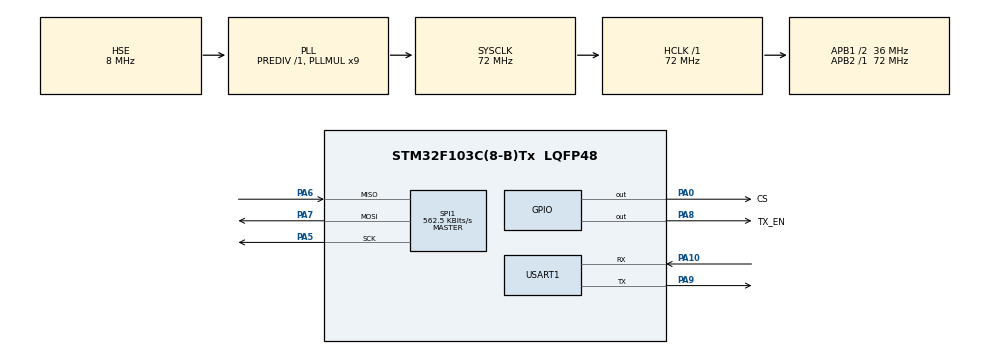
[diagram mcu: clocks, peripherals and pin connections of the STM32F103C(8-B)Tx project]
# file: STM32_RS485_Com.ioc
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Mcu.Family=STM32F1
Mcu.Name=STM32F103C(8-B)Tx
Mcu.Package=LQFP48
NVIC.PriorityGroup=NVIC_PRIORITYGROUP_4
NVIC.USART1_IRQn=true\:0\:0\:false\:false\:true\:true\:true\:true
PA0-WKUP.GPIO_Label=CS
PA0-WKUP.Signal=GPIO_Output
PA10.Mode=Asynchronous
PA10.Signal=USART1_RX
PA13.Mode=Serial_Wire
PA13.Signal=SYS_JTMS-SWDIO
PA14.Mode=Serial_Wire
PA14.Signal=SYS_JTCK-SWCLK
PA5.Mode=Full_Duplex_Master
PA5.Signal=SPI1_SCK
PA6.Mode=Full_Duplex_Master
PA6.Signal=SPI1_MISO
PA7.Mode=Full_Duplex_Master
PA7.Signal=SPI1_MOSI
PA8.GPIO_Label=TX_EN
PA8.Signal=GPIO_Output
PA9.Mode=Asynchronous
PA9.Signal=USART1_TX
PD0-OSC_IN.Mode=HSE-External-Oscillator
PD0-OSC_IN.Signal=RCC_OSC_IN
PD1-OSC_OUT.Mode=HSE-External-Oscillator
PD1-OSC_OUT.Signal=RCC_OSC_OUT
ProjectManager.HeapSize=0x200
ProjectManager.StackSize=0x400
ProjectManager.TargetToolchain=STM32CubeIDE
RCC.AHBFreq_Value=72000000
RCC.APB1CLKDivider=RCC_HCLK_DIV2
RCC.APB1Freq_Value=36000000
RCC.APB1TimFreq_Value=72000000
RCC.APB2Freq_Value=72000000
RCC.APB2TimFreq_Value=72000000
RCC.HCLKFreq_Value=72000000
RCC.PLLMUL=RCC_PLL_MUL9
RCC.PLLSourceVirtual=RCC_PLLSOURCE_HSE
RCC.SYSCLKFreq_VALUE=72000000
RCC.SYSCLKSource=RCC_SYSCLKSOURCE_PLLCLK
RCC.USBFreq_Value=72000000
SPI1.BaudRatePrescaler=SPI_BAUDRATEPRESCALER_128
SPI1.CLKPhase=SPI_PHASE_2EDGE
SPI1.CalculateBaudRate=562.5 KBits/s
SPI1.Direction=SPI_DIRECTION_2LINES
SPI1.Mode=SPI_MODE_MASTER
SPI1.VirtualType=VM_MASTER
USART1.VirtualMode=VM_ASYNC
board=custom

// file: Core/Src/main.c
/* USER CODE BEGIN Header */
/**
  ******************************************************************************
  * @file           : main.c
  * @brief          : Main program body
  ******************************************************************************
  * @attention
  *
  * <h2><center>&copy; Copyright (c) 2022 STMicroelectronics.
  * All rights reserved.</center></h2>
  *
  * This software component is licensed by ST under BSD 3-Clause license,
  * the "License"; You may not use this file except in compliance with the
  * License. You may obtain a copy of the License at:
  *                        opensource.org/licenses/BSD-3-Clause
  *
  ******************************************************************************
  */
/* USER CODE END Header */
#include "main.h"

/* USER CODE BEGIN Includes */
#include "MAX31865_lib.h"
#include <stdio.h>
#include <stdbool.h>
#include <string.h>

extern bool MAX31865_Sensor_Error;
char temperature[16];
float PT100_Temperature = 0.0f;

unsigned long Time;
/* USER CODE END Includes */

SPI_HandleTypeDef hspi1;

UART_HandleTypeDef huart1;

void SystemClock_Config(void);
static void MX_GPIO_Init(void);
static void MX_SPI1_Init(void);
static void MX_USART1_UART_Init(void);

/* USER CODE BEGIN 0 */
uint8_t TxData[16];
uint8_t RxData[16];

void sendData (uint8_t *data)
{
	// Pull DE high to enable TX operation
	//Before transmitting the data we need to put the RS485 module in the transmitter mode.
	//To do this we have to pull the DE (Driver enable) pin as HIGH.

	HAL_GPIO_WritePin(TX_EN_GPIO_Port, TX_EN_Pin, GPIO_PIN_SET);
	HAL_UART_Transmit(&huart1,data, strlen(data),1000);
	//Then we will send the data using the HAL_UART_Transmit Function.
	// Pull RE Low to enable RX operation
	HAL_GPIO_WritePin(TX_EN_GPIO_Port, TX_EN_Pin, GPIO_PIN_RESET); // 	//Once the data is transmitted, we will enable the receiver mode by pulling the RE (Receive Enable) Pin LOW.
//Remember that DE and RE are connected to the same pin (PA8, TX_EN), so we can use the same pin to set the module in transmitter or receiver mode.
}

void HAL_UARTEx_RxEventCallback(UART_HandleTypeDef *huart, uint16_t Size)
{
	HAL_UARTEx_ReceiveToIdle_IT(&huart1, temperature, 16);
	// The function ReceiveToIdle_IT will receive the incoming data and store in the temperature buffer, until the Idle line is detected.
}

/* USER CODE END 0 */

int main(void)
{

  /* MCU Configuration--------------------------------------------------------*/

  /* Reset of all peripherals, Initializes the Flash interface and the Systick. */
  HAL_Init();

  /* Configure the system clock */
  SystemClock_Config();

  /* Initialize all configured peripherals */
  MX_GPIO_Init();
  MX_SPI1_Init();
  MX_USART1_UART_Init();
  /* USER CODE BEGIN 2 */

	MAX31865_Init(3); // num of wires
	HAL_UARTEx_ReceiveToIdle_IT(&huart1, temperature, 16);

  /* USER CODE END 2 */

  /* Infinite loop */
  while (1)
  {

    /* USER CODE BEGIN 3 */
		if (HAL_GetTick() - Time >= 1000) {
				Time = HAL_GetTick();
				//PT100_Temperature = 25.78;
				PT100_Temperature = MAX31865_Get_Temperature();
				if (PT100_Temperature >= 0) {
					PT100_Temperature = PT100_Temperature + 0.05;
					sprintf(temperature, " %d.%d", (uint16_t) (PT100_Temperature),((uint16_t) (PT100_Temperature * 100) - ((uint16_t) PT100_Temperature) * 100) / 10);
					//sprintf(temperature, "%d°C  ", (uint16_t) (PT100_Temperature));
				} else {
					PT100_Temperature = -PT100_Temperature + 0.05;
				//	sprintf(temperature, "-%d.%d°C ", (uint16_t) (PT100_Temperature),((uint16_t) (PT100_Temperature * 100) - ((uint16_t) PT100_Temperature) * 100) / 10);
					sprintf(temperature, "- %d", (uint16_t) (PT100_Temperature));
				}
			    sendData(temperature);
			    HAL_Delay(500);
			}
  }
  /* USER CODE END 3 */
}

void SystemClock_Config(void)
{
  RCC_OscInitTypeDef RCC_OscInitStruct = {0};
  RCC_ClkInitTypeDef RCC_ClkInitStruct = {0};

  /** Initializes the RCC Oscillators according to the specified parameters
  * in the RCC_OscInitTypeDef structure.
  */
  RCC_OscInitStruct.OscillatorType = RCC_OSCILLATORTYPE_HSE;
  RCC_OscInitStruct.HSEState = RCC_HSE_ON;
  RCC_OscInitStruct.HSEPredivValue = RCC_HSE_PREDIV_DIV1;
  RCC_OscInitStruct.HSIState = RCC_HSI_ON;
  RCC_OscInitStruct.PLL.PLLState = RCC_PLL_ON;
  RCC_OscInitStruct.PLL.PLLSource = RCC_PLLSOURCE_HSE;
  RCC_OscInitStruct.PLL.PLLMUL = RCC_PLL_MUL9;
  if (HAL_RCC_OscConfig(&RCC_OscInitStruct) != HAL_OK)
  {
    Error_Handler();
  }
  /** Initializes the CPU, AHB and APB buses clocks
  */
  RCC_ClkInitStruct.ClockType = RCC_CLOCKTYPE_HCLK|RCC_CLOCKTYPE_SYSCLK
                              |RCC_CLOCKTYPE_PCLK1|RCC_CLOCKTYPE_PCLK2;
  RCC_ClkInitStruct.SYSCLKSource = RCC_SYSCLKSOURCE_PLLCLK;
  RCC_ClkInitStruct.AHBCLKDivider = RCC_SYSCLK_DIV1;
  RCC_ClkInitStruct.APB1CLKDivider = RCC_HCLK_DIV2;
  RCC_ClkInitStruct.APB2CLKDivider = RCC_HCLK_DIV1;

  if (HAL_RCC_ClockConfig(&RCC_ClkInitStruct, FLASH_LATENCY_2) != HAL_OK)
  {
    Error_Handler();
  }
}

static void MX_SPI1_Init(void)
{

  /* SPI1 parameter configuration*/
  hspi1.Instance = SPI1;
  hspi1.Init.Mode = SPI_MODE_MASTER;
  hspi1.Init.Direction = SPI_DIRECTION_2LINES;
  hspi1.Init.DataSize = SPI_DATASIZE_8BIT;
  hspi1.Init.CLKPolarity = SPI_POLARITY_LOW;
  hspi1.Init.CLKPhase = SPI_PHASE_2EDGE;
  hspi1.Init.NSS = SPI_NSS_SOFT;
  hspi1.Init.BaudRatePrescaler = SPI_BAUDRATEPRESCALER_128;
  hspi1.Init.FirstBit = SPI_FIRSTBIT_MSB;
  hspi1.Init.TIMode = SPI_TIMODE_DISABLE;
  hspi1.Init.CRCCalculation = SPI_CRCCALCULATION_DISABLE;
  hspi1.Init.CRCPolynomial = 10;
  if (HAL_SPI_Init(&hspi1) != HAL_OK)
  {
    Error_Handler();
  }

}

static void MX_USART1_UART_Init(void)
{

  huart1.Instance = USART1;
  huart1.Init.BaudRate = 115200;
  huart1.Init.WordLength = UART_WORDLENGTH_8B;
  huart1.Init.StopBits = UART_STOPBITS_1;
  huart1.Init.Parity = UART_PARITY_NONE;
  huart1.Init.Mode = UART_MODE_TX_RX;
  huart1.Init.HwFlowCtl = UART_HWCONTROL_NONE;
  huart1.Init.OverSampling = UART_OVERSAMPLING_16;
  if (HAL_UART_Init(&huart1) != HAL_OK)
  {
    Error_Handler();
  }

}

static void MX_GPIO_Init(void)
{
  GPIO_InitTypeDef GPIO_InitStruct = {0};

  /* GPIO Ports Clock Enable */
  __HAL_RCC_GPIOD_CLK_ENABLE();
  __HAL_RCC_GPIOA_CLK_ENABLE();

  /*Configure GPIO pin Output Level */
  HAL_GPIO_WritePin(GPIOA, CS_Pin|TX_EN_Pin, GPIO_PIN_RESET);

  /*Configure GPIO pins : CS_Pin TX_EN_Pin */
  GPIO_InitStruct.Pin = CS_Pin|TX_EN_Pin;
  GPIO_InitStruct.Mode = GPIO_MODE_OUTPUT_PP;
  GPIO_InitStruct.Pull = GPIO_NOPULL;
  GPIO_InitStruct.Speed = GPIO_SPEED_FREQ_LOW;
  HAL_GPIO_Init(GPIOA, &GPIO_InitStruct);

}

void Error_Handler(void)
{
  __disable_irq();
  while (1)
  {
  }
}

/************************ (C) COPYRIGHT STMicroelectronics *****END OF FILE****/
